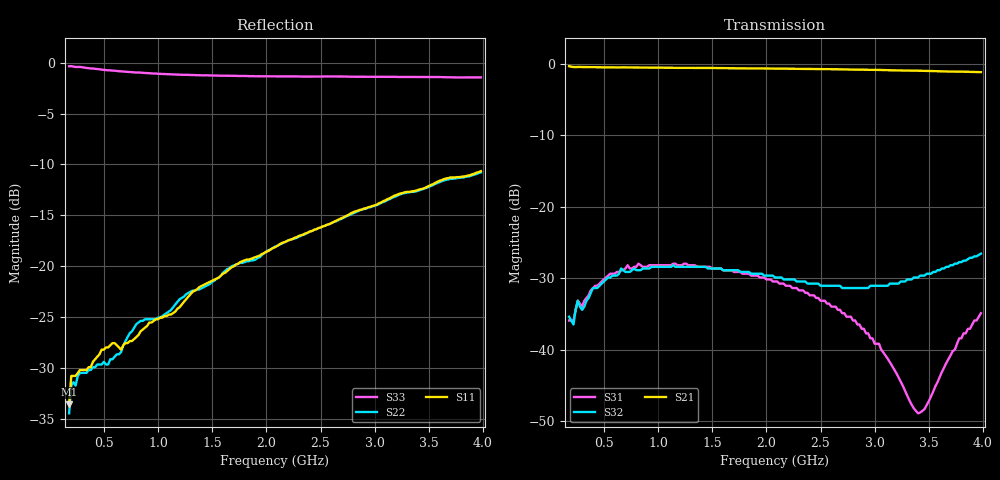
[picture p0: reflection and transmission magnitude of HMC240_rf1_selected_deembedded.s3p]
!Hittite Microwave Corporation
!12 Elizabeth Drive
!Chelmsford, MA 01824
!Tel: 978-250-3343
!Fax: 978-250-3373
!Device: HMC240, DC-4 GHz GaAs MMIC SPDT SWITCH
!Misc: Port1 = RFC, Port2 = RF1, Port3 = RF2, RF1 ON, Vctl=-5V, Data includes 2 SMA connectors, Room
# MHZ S MA R 50
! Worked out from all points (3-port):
!   191 points, 180 MHz to 3.98 GHz, reference 50 ohm
!   strongest paths, dB at 180 MHz, 1.12 GHz, 2.08 GHz, 3.04 GHz, 3.98 GHz:
!     S21: -0.3, -0.5, -0.6, -0.8, -1.1
!     S32: -35.4, -28.4, -29.9, -31.1, -26.6
!     S31: -35.9, -28.2, -30.5, -39.2, -34.9
!   lowest |S11| = -33.6 dB at 180 MHz (marker M1), VSWR 1.04, Z = 52.1 + j0.122 ohm
!   |S11| at or under -10 dB: start of sweep to end of sweep
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180  0.021 3.2  0.965 -7.9  0.016 66.8
     0.965 -8.0  0.019 10.8  0.017 73.1
     0.016 66.5  0.017 73.0  0.959 -39.1
200  0.029 -13.5  0.958 -8.6  0.016 59.5
     0.957 -8.6  0.026 -11.8  0.016 61.2
     0.016 59.4  0.016 60.9  0.96 -43.3
480  0.039 -50.4  0.95 -19.8  0.03 33.9
     0.948 -19.8  0.033 -55.7  0.029 39.5
     0.03 33.8  0.029 39.4  0.924 -94.5
700  0.042 -69.6  0.948 -28.6  0.037 12.8
     0.946 -28.6  0.043 -69.2  0.035 17.3
     0.037 12.8  0.035 17.2  0.901 -125.1
940  0.053 -93.7  0.944 -38.1  0.039 -7.5
     0.943 -38.2  0.055 -91.4  0.038 4.1
     0.039 -7.6  0.038 4.1  0.885 -151.6
1440  0.082 -123.7  0.939 -58.3  0.038 -39.8
      0.937 -58.3  0.08 -128.5  0.038 -20.3
      0.038 -39.8  0.038 -20.2  0.866 166.6
2080  0.124 -159.9  0.931 -84.1  0.03 -75.3
      0.928 -84.1  0.125 -162.2  0.032 -39.5
      0.03 -75.2  0.032 -39.3  0.857 126.1
2820  0.186 165.7  0.915 -114.0  0.016 -117.1
      0.913 -114.0  0.184 160.4  0.027 -41.4
      0.016 -117.1  0.027 -41.5  0.852 87.9
3400  0.237 139.1  0.898 -137.5  0.00363 145.6
      0.896 -137.5  0.235 134.8  0.032 -34.8
      0.003584 145.7  0.032 -34.8  0.85 60.1
3980  0.293 114.5  0.877 -161.0  0.018 35.8
      0.876 -160.9  0.289 108.7  0.047 -38.5
      0.018 36.0  0.047 -38.5  0.846 33.8
